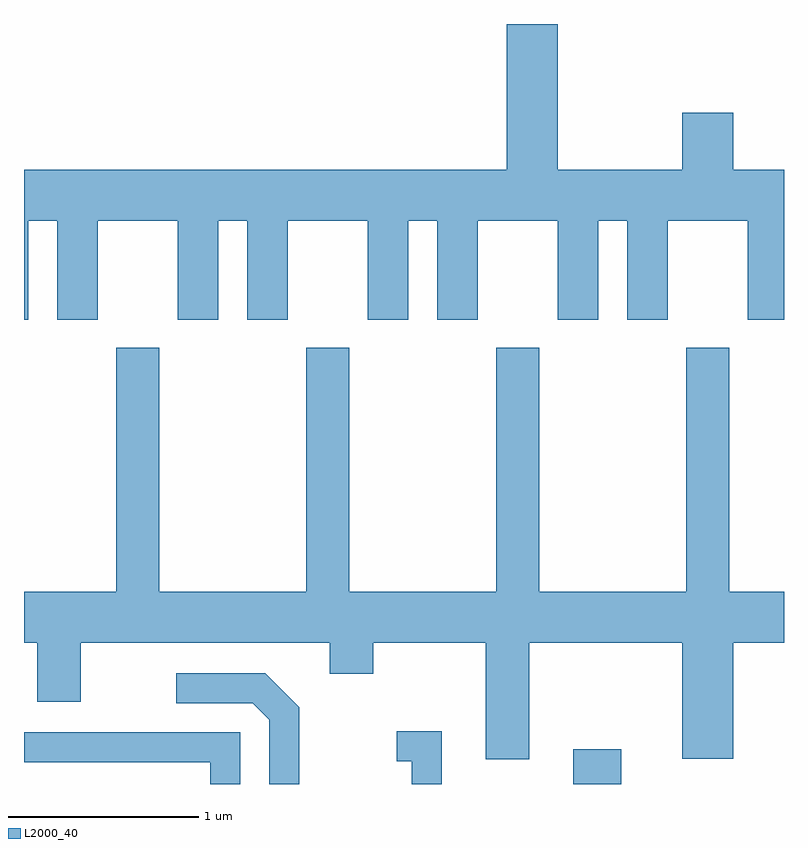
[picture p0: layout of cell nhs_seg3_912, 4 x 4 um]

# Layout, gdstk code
import gdstk
lib = gdstk.Library(unit=1e-6, precision=1e-09)
def R(c, l, rs):  # rectangles x0, y0, x1, y1
    for r in rs: c.add(gdstk.rectangle(r[:2], r[2:], *l))
def P(c, l, *ps):  # polygons
    for p in ps: c.add(gdstk.Polygon(p, *l))
L2000_40 = (2000, 40)

nhs_seg3_912 = lib.new_cell('nhs_seg3_912')
R(nhs_seg3_912, L2000_40, [(214.501,1171.892,214.754,1172.074)])
P(nhs_seg3_912, L2000_40, [(211.634,1174.856),(211.786,1174.856),(211.786,1174.336),(211.999,1174.336),(211.999,1174.856),(212.421,1174.856),(212.421,1174.336),(212.634,1174.336),(212.634,1174.856),(212.786,1174.856),(212.786,1174.336),(212.999,1174.336),(212.999,1174.856),(213.421,1174.856),(213.421,1174.336),(213.634,1174.336),(213.634,1174.856),(213.786,1174.856),(213.786,1174.336),(213.999,1174.336),(213.999,1174.856),(214.421,1174.856),(214.421,1174.336),(214.634,1174.336),(214.634,1174.856),(214.786,1174.856),(214.786,1174.336),(214.999,1174.336),(214.999,1174.856),(215.421,1174.856),(215.421,1174.336),(215.611,1174.336),(215.611,1175.124),(215.344,1175.124),(215.344,1175.424),(215.076,1175.424),(215.076,1175.124),(214.419,1175.124),(214.419,1175.892),(214.151,1175.892),(214.151,1175.124),(211.611,1175.124),(211.611,1174.336),(211.634,1174.336)],
  [(214.269,1172.636),(215.076,1172.636),(215.076,1172.026),(215.344,1172.026),(215.344,1172.636),(215.611,1172.636),(215.611,1172.904),(215.324,1172.904),(215.324,1174.189),(215.096,1174.189),(215.096,1172.904),(214.324,1172.904),(214.324,1174.189),(214.096,1174.189),(214.096,1172.904),(213.324,1172.904),(213.324,1174.189),(213.096,1174.189),(213.096,1172.904),(212.324,1172.904),(212.324,1174.189),(212.096,1174.189),(212.096,1172.904),(211.611,1172.904),(211.611,1172.636),(211.681,1172.636),(211.681,1172.326),(211.909,1172.326),(211.909,1172.636),(213.221,1172.636),(213.221,1172.471),(213.449,1172.471),(213.449,1172.636),(214.041,1172.636),(214.041,1172.021),(214.269,1172.021)],
  [(213.059,1172.297),(212.882,1172.474),(212.413,1172.474),(212.413,1172.316),(212.814,1172.316),(212.901,1172.229),(212.901,1171.892),(213.059,1171.892)],
  [(213.809,1172.169),(213.573,1172.169),(213.573,1172.011),(213.651,1172.011),(213.651,1171.892),(213.809,1171.892)],
  [(212.749,1172.164),(211.611,1172.164),(211.611,1172.006),(212.591,1172.006),(212.591,1171.892),(212.749,1171.892)])

lib.write_gds('nhs_seg3_912.gds')
